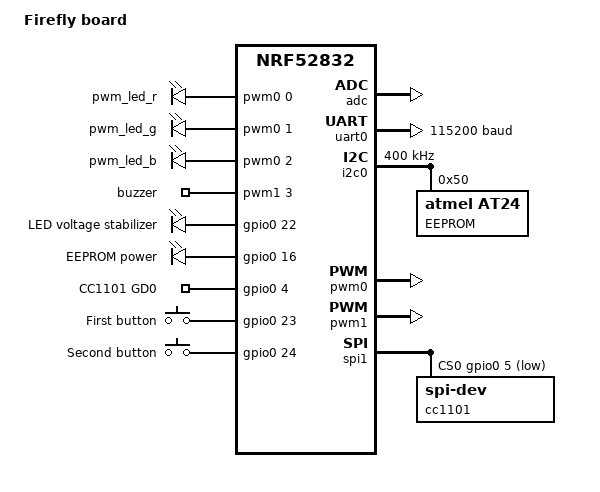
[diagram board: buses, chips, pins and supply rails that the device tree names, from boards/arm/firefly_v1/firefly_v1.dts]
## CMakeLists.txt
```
cmake_minimum_required(VERSION 3.13.1)
include($ENV{ZEPHYR_BASE}/cmake/app/boilerplate.cmake NO_POLICY_SCOPE)

project(firefly)

target_sources(app PRIVATE
  src/cc1101.cpp
  src/main.cpp
  src/rgb_led.cpp
  src/color.cpp
  src/timer.cpp
  src/battery.cpp
)
target_include_directories(app PRIVATE src)
```

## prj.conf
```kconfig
# Enable C++ and its standard library
CONFIG_CPLUSPLUS=y
CONFIG_NEWLIB_LIBC=y
CONFIG_LIB_CPLUSPLUS=y
CONFIG_STD_CPP17=y

# Disable some debug optimizations so debugging is easier
CONFIG_DEBUG=y
CONFIG_DEBUG_OPTIMIZATIONS=y

# Enable GPIO for buttons/leds
CONFIG_GPIO=y

# Enable logging via RTT
CONFIG_LOG=y
CONFIG_USE_SEGGER_RTT=y
CONFIG_RTT_CONSOLE=y

# Enable SPI to be able to communicate to the radio chip (cc1101).
CONFIG_SPI=y
# With the default pca10040 board devicetree, uart0 uses pins needed for SPI.
CONFIG_SERIAL=n
CONFIG_UART_CONSOLE=n

# Required to have smooth LED control
CONFIG_PWM=y
```

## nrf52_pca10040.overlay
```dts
/ {
	buttons {
		gdo0: gdo0 {
			gpios = <&gpio0 4 (GPIO_PULL_DOWN)>;
			label = "CC1101 GD0";
		};
	};

	aliases {
		cc1101-spi = &spi1;
		cc1101-gdo0 = &gdo0;
	};
};

&spi1 {
	status = "okay";
	sck-pin = <6>;
	mosi-pin = <8>;
	miso-pin = <7>;
	cs-gpios = <&gpio0 5 0>;
};
```

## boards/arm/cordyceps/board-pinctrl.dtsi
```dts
&pinctrl {
  uart0_default: uart0_default {
    group1 {
      psels = <NRF_PSEL(UART_TX, 0, 17)>,
              <NRF_PSEL(UART_RX, 0, 20)>;
    };
  };

  uart1_default: uart1_default {
    group1 {
      psels = <NRF_PSEL(UART_TX, 0, 11)>,
              <NRF_PSEL(UART_RX, 0, 9)>;
    };
  };
};
```

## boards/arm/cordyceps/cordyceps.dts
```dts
/dts-v1/;
#include <nordic/nrf52833_qiaa.dtsi>
#include "board-pinctrl.dtsi"

/ {
	model = "Cordyceps v1 board";
	compatible = "aeremin,cordyceps";

	chosen {
		zephyr,console = &uart0;
		zephyr,sram = &sram0;
		zephyr,flash = &flash0;
	};

	power_control {
		compatible = "gpio-keys";
		led1: led1 {
			gpios = <&gpio0 31 (GPIO_ACTIVE_LOW | GPIO_PULL_UP)>;
			label = "Indication LED";
		};

		power_en: power_en {
			gpios = <&gpio0 15 (GPIO_ACTIVE_HIGH | GPIO_PULL_DOWN)>;
			label = "Power pass-through";
		};
	};

	buttons {
		compatible = "gpio-keys";
		button_sw1: button_sw1 {
			gpios = <&gpio0 30 (GPIO_PULL_UP | GPIO_ACTIVE_LOW)>;
			label = "First button";
		};
	};
};

&uart0 {
	status = "okay";
	current-speed = <115200>;
	pinctrl-0 = <&uart0_default>;
	pinctrl-names = "default";
};

&uart1 {
	status = "okay";
	current-speed = <115200>;
	pinctrl-0 = <&uart1_default>;
	pinctrl-names = "default";
};

&gpio0 {
	status = "okay";
};

&gpiote {
    status = "okay";
};

&flash0 {
	partitions {
		compatible = "fixed-partitions";
		#address-cells = <1>;
		#size-cells = <1>;

		boot_partition: partition@0 {
			label = "mcuboot";
			reg = <0x00000000 0xC000>;
		};
		slot0_partition: partition@c000 {
			label = "image-0";
			reg = <0x0000C000 0x32000>;
		};
		slot1_partition: partition@3e000 {
			label = "image-1";
			reg = <0x0003E000 0x32000>;
		};
		scratch_partition: partition@70000 {
			label = "image-scratch";
			reg = <0x00070000 0xA000>;
		};
		storage_partition: partition@7a000 {
			label = "storage";
			reg = <0x0007A000 0x00006000>;
		};
	};
};
```

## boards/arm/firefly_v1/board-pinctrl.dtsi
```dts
&pinctrl {
    uart0_default: uart0_default {
      group1 {
        psels = <NRF_PSEL(UART_TX, 0, 2)>,
                <NRF_PSEL(UART_RX, 0, 3)>;
      };
    };

    spi1_default: spi1_default {
      group1 {
        psels = <NRF_PSEL(SPIM_SCK, 0, 6)>,
                <NRF_PSEL(SPIM_MISO, 0, 7)>,
                <NRF_PSEL(SPIM_MOSI, 0, 8)>;
      };
    };

    pwm0_default: pwm0_default {
      group1 {
        psels = <NRF_PSEL(PWM_OUT0, 0, 17)>,
                <NRF_PSEL(PWM_OUT1, 0, 20)>,
                <NRF_PSEL(PWM_OUT2, 0, 19)>;
        nordic,invert;
      };
    };

    pwm1_default: pwm1_default {
      group1 {
        psels = <NRF_PSEL(PWM_OUT3, 0, 30)>;
      };
    };
    
    i2c0_default: i2c0_default {
      group1 {
        psels = <NRF_PSEL(TWIM_SDA, 0, 14)>,
                <NRF_PSEL(TWIM_SCL, 0, 15)>;
      };
    };

    i2c1_default: i2c1_default {
      group1 {
        psels = <NRF_PSEL(TWIM_SDA, 0, 12)>,
                <NRF_PSEL(TWIM_SCL, 0, 13)>;
      };
    };    
  };
```

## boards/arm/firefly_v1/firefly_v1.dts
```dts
/dts-v1/;
#include <nordic/nrf52832_qfaa.dtsi>
#include "board-pinctrl.dtsi"

/ {
	// See hardware info, spec and blueprints here https://github.com/Kreyl/firefly_hw
	// Specifically, https://github.com/Kreyl/Firefly_hw/blob/master/PCB/Gerber/FireFly_SCH.pdf
	model = "Firefly board";

	chosen {
		zephyr,console = &uart0;
		zephyr,shell-uart = &uart0;
		zephyr,uart-mcumgr = &uart0;
		zephyr,bt-mon-uart = &uart0;
		zephyr,bt-c2h-uart = &uart0;
		zephyr,sram = &sram0;
		zephyr,flash = &flash0;
	};

	pwmleds {
		// Need power on 22 for being bright
		compatible = "pwm-leds";
		pwm_led_r: pwm_led_r {
			pwms = <&pwm0 0 PWM_MSEC(20) PWM_POLARITY_INVERTED>;
		};

		pwm_led_g: pwm_led_g {
			pwms = <&pwm0 1 PWM_MSEC(20) PWM_POLARITY_INVERTED>;
		};

		pwm_led_b: pwm_led_b {
			pwms = <&pwm0 2 PWM_MSEC(20) PWM_POLARITY_INVERTED>;
		};
	};

	pwmbuzzer {
		compatible = "pwm-leds";
		buzzer: buzzer {
			pwms = <&pwm1 3 PWM_MSEC(20) PWM_POLARITY_INVERTED>;
		};
	};

	leds {
		compatible = "gpio-leds";
		led_en: led_en {
			gpios = <&gpio0 22 GPIO_ACTIVE_HIGH>;
			label = "LED voltage stabilizer";
		};

		eeprom_en: eeprom_en {
			gpios = <&gpio0 16 GPIO_ACTIVE_HIGH>;
			label = "EEPROM power";
		};
	};

	buttons {
		compatible = "gpio-keys";
		gdo0: gdo0 {
			gpios = <&gpio0 4 (GPIO_PULL_DOWN)>;
			label = "CC1101 GD0";
		};

		button_1: button_1 {
			gpios = <&gpio0 23 (GPIO_PULL_DOWN)>;
			label = "First button";
		};

		button_2: button_2 {
			gpios = <&gpio0 24 (GPIO_PULL_DOWN)>;
			label = "Second button";
		};
	};

	aliases {
		cc1101-spi = &spi1;
		cc1101 = &cc1101;
		cc1101-gdo0 = &gdo0;

		led-r = &pwm_led_r;
		led-g = &pwm_led_g;
		led-b = &pwm_led_b;
		led-en = &led_en;

		buzzer = &buzzer;

		eeprom = &eeprom;
		eeprom-en = &eeprom_en;
	};
};

&adc {
	status = "okay";
};

&gpiote {
	status = "okay";
};

&gpio0 {
	status = "okay";
};

&uart0 {
	status = "okay";
	compatible = "nordic,nrf-uart";
	current-speed = <115200>;
	pinctrl-0 = <&uart0_default>;
	pinctrl-names = "default";
};

// EEPROM
// Needs power on 16
&i2c0 {
	compatible = "nordic,nrf-twi";
	status = "okay";
	pinctrl-0 = <&i2c0_default>;
	pinctrl-names = "default";
	clock-frequency = <I2C_BITRATE_FAST>;

	// Datasheet: https://www.terraelectronica.ru/pdf/show?pdf_file=%252Fds%252Fpdf%252FM%252Fm24256-bw.pdf
	eeprom: eeprom@50 {
		compatible = "atmel,at24";
		// 1010 (type identifier code) 000 (A0-A2 pins are connected to the ground)
		reg = <0x50>;
		label = "EEPROM";
		size = <DT_SIZE_K(32)>;
		pagesize = <64>;
		address-width = <8>;
		timeout = <5>;
	};
};

// Pill
&i2c1 {
	compatible = "nordic,nrf-twi";
	status = "disabled";
	pinctrl-0 = <&i2c1_default>;
	pinctrl-names = "default";
	// Needs power on 11
};

// LEDs
&pwm0 {
	status = "okay";
	pinctrl-0 = <&pwm0_default>;
	pinctrl-names = "default";	
};

// Buzzer
&pwm1 {
	status = "okay";
	pinctrl-0 = <&pwm1_default>;
	pinctrl-names = "default";	
};

// CC1101
&spi1 {
	compatible = "nordic,nrf-spi";
	status = "okay";
	pinctrl-0 = <&spi1_default>;
	pinctrl-names = "default";
	cs-gpios = <&gpio0 5 GPIO_ACTIVE_LOW>;
	cc1101: spi-dev@0 {
		reg = <0>;
	};
};

&flash0 {
	/*
	 * For more information, see:
	 * http://docs.zephyrproject.org/latest/guides/dts/index.html#flash-partitions
	 */
	partitions {
		compatible = "fixed-partitions";
		#address-cells = <1>;
		#size-cells = <1>;

		boot_partition: partition@0 {
			label = "mcuboot";
			reg = <0x00000000 0xc000>;
		};
		slot0_partition: partition@c000 {
			label = "image-0";
			reg = <0x0000C000 0x32000>;
		};
		slot1_partition: partition@3e000 {
			label = "image-1";
			reg = <0x0003E000 0x32000>;
		};
		scratch_partition: partition@70000 {
			label = "image-scratch";
			reg = <0x00070000 0xa000>;
		};
		storage_partition: partition@7a000 {
			label = "storage";
			reg = <0x0007a000 0x00006000>;
		};
	};
};
```

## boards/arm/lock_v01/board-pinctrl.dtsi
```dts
&pinctrl {
  uart0_default: uart0_default {
    group1 {
      psels = <NRF_PSEL(UART_TX, 0, 22)>,
              <NRF_PSEL(UART_RX, 0, 24)>;
    };
  };

  pwm0_default: pwm0_default {
    group1 {
      psels = <NRF_PSEL(PWM_OUT0, 1, 15)>,
              <NRF_PSEL(PWM_OUT1, 1, 13)>,
              <NRF_PSEL(PWM_OUT2, 0, 2)>;
      nordic,invert;
    };
  };

  pwm1_default: pwm1_default {
    group1 {
      psels = <NRF_PSEL(PWM_OUT3, 0, 20)>;
    };
  };

  i2c0_default: i2c0_default {
    group1 {
      psels = <NRF_PSEL(TWIM_SDA, 0, 12)>,
              <NRF_PSEL(TWIM_SCL, 1, 9)>;
    };
  };
};
```

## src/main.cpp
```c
#include <array>
#include <device.h>
#include <drivers/gpio.h>
#include <drivers/spi.h>
#include <logging/log.h>
#include <zephyr.h>
#include "battery.h"
#include "cc1101.h"
#include "rgb_led.h"

LOG_MODULE_REGISTER();

struct MagicPathRadioPacket {
  uint8_t id;
  uint8_t r, g, b;
  uint8_t r_background, g_background, b_background;
  bool configure_mode;
} __attribute__((__packed__));

struct ColorAndTimestamp {
  ColorAndTimestamp(): timestamp(0), color(0, 0, 0) {}
  int32_t timestamp;
  Color color;
};

class PacketsLog {
public:
  void ProcessRadioPacket(const MagicPathRadioPacket& p) {
    if (p.id >= colors_.size()) {
      LOG_WRN("Unexpected radio packet with ID = %d", p.id);
      return;
    }

    if (p.configure_mode) {
      background_color_ = Color(p.r_background, p.g_background, p.b_background);
    }

    colors_[p.id].timestamp = k_uptime_get();
    colors_[p.id].color = Color(p.r, p.g, p.b);
  }

  Color GetColor() const {
    const auto current_t = k_uptime_get();
    uint16_t r = 0, g = 0, b = 0;
    bool see_something = false;
    for (const auto& entry: colors_) {
      if (entry.timestamp != 0 && current_t - entry.timestamp < 3000) {
        r += entry.color.r;
        g += entry.color.g;
        b += entry.color.b;
        see_something = true;
      }
    }

    if (!see_something) {
      return background_color_;
    }

    return Color(std::min<uint16_t>(255, r), std::min<uint16_t>(255, g), std::min<uint16_t>(255, b));
  }

private:
  Color background_color_ = {0, 0, 0};
  std::array<ColorAndTimestamp, 20> colors_;
};

void main(void) {
  LOG_WRN("Hello! Application started successfully.");

  Cc1101 cc1101;
  cc1101.Init();
  cc1101.SetChannel(1);

  RgbLed led;
  PacketsLog log;
  Battery battery;

  auto t1 = RunEvery([&led, &log](){
    auto c = log.GetColor();
    LOG_DBG("New color is %d %d %d", c.r, c.g, c.b);
    led.SetColorSmooth(c, 1000);
  }, 1000);

  while (true) {
    MagicPathRadioPacket pkt;
    for (int ch = 0; ch < 4; ++ch) {
      cc1101.SetChannel(ch);
      if (cc1101.Receive(63, &pkt)) {
        LOG_DBG("Got packet! ID=%d, R=%d, G=%d, B=%d", pkt.id, pkt.r, pkt.g, pkt.b);
        log.ProcessRadioPacket(pkt);
      }
    }

    LOG_INF("Adc result: %d", battery.GetVoltage());
    k_sleep(810);
  }
}
```

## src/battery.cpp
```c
#include "battery.h"

#include <hal/nrf_saadc.h>

namespace {
const uint8_t kAdcResolution = 10;
const uint8_t kAdcOversampling = 4;
static s32_t sample_buffer[10];
}

Battery::Battery():
  adc_device_(device_get_binding(DT_ADC_0_NAME)),
  channel_config_(ChannelConfig()),
  adc_seq_({
    .options      = nullptr,
    .channels     = BIT(0),
    .buffer       = sample_buffer,
    .buffer_size  = sizeof(sample_buffer),
    .resolution   = kAdcResolution,
    .oversampling = kAdcOversampling,
    .calibrate    = true
	})
{
  adc_channel_setup(adc_device_, &channel_config_);
}

int32_t Battery::GetVoltage() {
	adc_read(adc_device_, &adc_seq_);
  adc_raw_to_millivolts(adc_ref_internal(adc_device_), ADC_GAIN_1_6, kAdcResolution, sample_buffer);

  // We don't need to calibrate anymore
  adc_seq_.calibrate = false;

  return sample_buffer[0];
}

adc_channel_cfg Battery::ChannelConfig() {
  adc_channel_cfg config;
  config.gain = ADC_GAIN_1_6;
  config.reference = ADC_REF_INTERNAL;
  config.acquisition_time = ADC_ACQ_TIME(ADC_ACQ_TIME_MICROSECONDS, 10);
  config.channel_id = 0;
  config.input_positive = NRF_SAADC_INPUT_VDD;
  return config;
}
```

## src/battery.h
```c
#pragma once
#include <device.h>
#include <drivers/adc.h>

// Helper for measuring battery voltage.
// nRF-specific (uses nRF-specific SAADC driver).
// There are 2 things which I still can't figure out
// 1) It produces weird result if Battery is not statically allocated. Probably it has
//    to do with underlying libraries somehow requiring buffer to be statically allocated.
//    So the only way to instantiate this is by using GetInstance() method which will
//    return statically allocated singleton.
// 2) For some reason first call to GetVoltage() will always (?) return 0 (more precisely:
//    something based on default value of buffer). So caller should probably ignore 0 results.
class Battery {
public:
  static Battery GetInstance();

  // Returns current estimated voltage in millivolts.
  // Don't trust it if it returns 0 - see above.
  int32_t GetVoltage();
private:
  Battery();

  device* adc_device_;
  const adc_channel_cfg channel_config_;
  adc_sequence adc_seq_;
  int16_t buffer_ = 0;
};
```

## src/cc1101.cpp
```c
#include "cc1101.h"

LOG_MODULE_DECLARE();

device* Cc1101::spi_ = device_get_binding(DT_ALIAS_CC1101_SPI_LABEL);

device* gpio_device = device_get_binding(DT_ALIAS_CC1101_GDO0_GPIOS_CONTROLLER);
gpio_pin_t gd_pin = DT_ALIAS_CC1101_GDO0_GPIOS_PIN;

k_sem Cc1101::gd_ready_;
gpio_callback Cc1101::gdo0_callback_data_;

spi_cs_control Cc1101::spi_cs_cfg_ = {
    .gpio_dev = device_get_binding(DT_ALIAS_SPI_1_CS_GPIOS_CONTROLLER),
    .gpio_pin = DT_ALIAS_SPI_1_CS_GPIOS_PIN,
    .delay = 0};

spi_config Cc1101::spi_config_ = {
    .frequency = 0x400000UL, // 4 MHz
    .operation = SPI_OP_MODE_MASTER | SPI_TRANSFER_MSB | SPI_WORD_SET(8) | SPI_LINES_SINGLE,
    .slave = 0,
    .cs = &Cc1101::spi_cs_cfg_};

void Cc1101::Init() {
  k_sem_init(&gd_ready_, 0, 1);

  Reset();

  // TODO(aeremin) This is a hack. Instead we should wait for
  // CC1101 to became ready by listening for MISO to become low.
  // This actually should be done every time we initiate a transfer (i.e. pull CS low),
  // but there is no direct support for that in nRF SPI library. From the datasheet it
  // seems that it's actually only required when leaving SLEEP or XOFF states
  // (see p. 29, "4-wire Serial Configuration and Data Interface").
  k_sleep(40);

  RfConfig();
  FlushRxFIFO();

  SetTxPower(CC_PwrMinus30dBm);
  SetChannel(0);

	auto ret = gpio_pin_configure(gpio_device, gd_pin, DT_ALIAS_CC1101_GDO0_GPIOS_FLAGS | GPIO_INPUT);
	if (ret != 0) LOG_ERR("Failed to configure button pin: %d", ret);

	ret = gpio_pin_interrupt_configure(gpio_device, gd_pin, GPIO_INT_EDGE_FALLING);
	if (ret != 0) LOG_ERR("Failed to configure interrupt on pin: %d", ret);

	gpio_init_callback(&gdo0_callback_data_, Gdo0Callback, BIT(gd_pin));
	gpio_add_callback(gpio_device, &gdo0_callback_data_);
}

void Cc1101::Gdo0Callback(struct device *dev, struct gpio_callback *cb, u32_t pins)
{
   k_sem_give(&Cc1101::gd_ready_);
}

void Cc1101::WriteStrobe(uint8_t instruction, uint8_t* status /* = nullptr*/) {
  spi_buf tx_buf = {
      .buf = &instruction,
      .len = 1};

  spi_buf_set tx_bufs = {
      .buffers = &tx_buf,
      .count = 1};

  spi_buf rx_buf = {
      .buf = status,
      .len = (status ? 1u : 0u)};

  spi_buf_set rx_bufs = {
      .buffers = &rx_buf,
      .count = 1};

  auto r = spi_transceive(spi_, &spi_config_, &tx_bufs, &rx_bufs);
  if (r != 0) {
    LOG_ERR("WriteStrobe fail: %d", r);
  }
}

void Cc1101::WriteConfigurationRegister(uint8_t reg, uint8_t value, uint8_t* statuses /* = nullptr*/) {
  uint8_t tx[] = {reg, value};
  spi_buf tx_buf = {
      .buf = tx,
      .len = 2};

  spi_buf_set tx_bufs = {
      .buffers = &tx_buf,
      .count = 1};

  spi_buf rx_buf = {
      .buf = statuses,
      .len = (statuses ? 2u : 0u)};

  spi_buf_set rx_bufs = {
      .buffers = &rx_buf,
      .count = 1};

  auto r = spi_transceive(spi_, &spi_config_, &tx_bufs, &rx_bufs);
  if (r != 0) {
    LOG_ERR("WriteConfigurationRegister fail: %d", r);
  }
}

uint8_t Cc1101::ReadRegister(uint8_t reg, uint8_t* status /* = nullptr*/) {
  uint8_t tx = reg | CC_READ_FLAG;
  uint8_t rx[] = {0, 0};

  spi_buf tx_buf = {
      .buf = &tx,
      .len = 1};

  spi_buf_set tx_bufs = {
      .buffers = &tx_buf,
      .count = 1};

  spi_buf rx_buf = {
      .buf = rx,
      .len = 2};

  spi_buf_set rx_bufs = {
      .buffers = &rx_buf,
      .count = 1};

  auto r = spi_transceive(spi_, &spi_config_, &tx_bufs, &rx_bufs);
  if (r != 0) {
    LOG_ERR("ReadRegister fail: %d", r);
  }

  if (status) *status = rx[0];
  return rx[1];
}

void Cc1101::Recalibrate() {
  EnterIdle();
  WriteStrobe(CC_SCAL);
}

void Cc1101::RfConfig() {
  WriteConfigurationRegister(CC_FSCTRL1, CC_FSCTRL1_VALUE);   // Frequency synthesizer control.
  WriteConfigurationRegister(CC_FSCTRL0, CC_FSCTRL0_VALUE);   // Frequency synthesizer control.
  WriteConfigurationRegister(CC_FREQ2, CC_FREQ2_VALUE);       // Frequency control word, high byte.
  WriteConfigurationRegister(CC_FREQ1, CC_FREQ1_VALUE);       // Frequency control word, middle byte.
  WriteConfigurationRegister(CC_FREQ0, CC_FREQ0_VALUE);       // Frequency control word, low byte.
  WriteConfigurationRegister(CC_MDMCFG4, CC_MDMCFG4_VALUE);   // Modem configuration.
  WriteConfigurationRegister(CC_MDMCFG3, CC_MDMCFG3_VALUE);   // Modem configuration.
  WriteConfigurationRegister(CC_MDMCFG2, CC_MDMCFG2_VALUE);   // Modem configuration.
  WriteConfigurationRegister(CC_MDMCFG1, CC_MDMCFG1_VALUE);   // Modem configuration.
  WriteConfigurationRegister(CC_MDMCFG0, CC_MDMCFG0_VALUE);   // Modem configuration.
  WriteConfigurationRegister(CC_CHANNR, CC_CHANNR_VALUE);     // Channel number.
  WriteConfigurationRegister(CC_DEVIATN, CC_DEVIATN_VALUE);   // Modem deviation setting (when FSK modulation is enabled).
  WriteConfigurationRegister(CC_FREND1, CC_FREND1_VALUE);     // Front end RX configuration.
  WriteConfigurationRegister(CC_FREND0, CC_FREND0_VALUE);     // Front end RX configuration.
  WriteConfigurationRegister(CC_MCSM0, CC_MCSM0_VALUE);       // Main Radio Control State Machine configuration.
  WriteConfigurationRegister(CC_FOCCFG, CC_FOCCFG_VALUE);     // Frequency Offset Compensation Configuration.
  WriteConfigurationRegister(CC_BSCFG, CC_BSCFG_VALUE);       // Bit synchronization Configuration.
  WriteConfigurationRegister(CC_AGCCTRL2, CC_AGCCTRL2_VALUE); // AGC control.
  WriteConfigurationRegister(CC_AGCCTRL1, CC_AGCCTRL1_VALUE); // AGC control.
  WriteConfigurationRegister(CC_AGCCTRL0, CC_AGCCTRL0_VALUE); // AGC control.
  WriteConfigurationRegister(CC_FSCAL3, CC_FSCAL3_VALUE);     // Frequency synthesizer calibration.
  WriteConfigurationRegister(CC_FSCAL2, CC_FSCAL2_VALUE);     // Frequency synthesizer calibration.
  WriteConfigurationRegister(CC_FSCAL1, CC_FSCAL1_VALUE);     // Frequency synthesizer calibration.
  WriteConfigurationRegister(CC_FSCAL0, CC_FSCAL0_VALUE);     // Frequency synthesizer calibration.
  WriteConfigurationRegister(CC_TEST2, CC_TEST2_VALUE);       // Various test settings.
  WriteConfigurationRegister(CC_TEST1, CC_TEST1_VALUE);       // Various test settings.
  WriteConfigurationRegister(CC_TEST0, CC_TEST0_VALUE);       // Various test settings.
  WriteConfigurationRegister(CC_FIFOTHR, CC_FIFOTHR_VALUE);   // fifo threshold
  WriteConfigurationRegister(CC_IOCFG2, CC_IOCFG2_VALUE);     // GDO2 output pin configuration.
  WriteConfigurationRegister(CC_IOCFG0, CC_IOCFG0_VALUE);     // GDO0 output pin configuration.
  WriteConfigurationRegister(CC_PKTCTRL1, CC_PKTCTRL1_VALUE); // Packet automation control.
  WriteConfigurationRegister(CC_PKTCTRL0, CC_PKTCTRL0_VALUE); // Packet automation control.

  WriteConfigurationRegister(CC_PATABLE, CC_Pwr0dBm);

  WriteConfigurationRegister(CC_MCSM2, CC_MCSM2_VALUE);
  WriteConfigurationRegister(CC_MCSM1, CC_MCSM1_VALUE);
}
```

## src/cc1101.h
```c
#pragma once

#include <device.h>
#include <drivers/gpio.h>
#include <drivers/spi.h>
#include <logging/log.h>
#include <zephyr.h>
#include "cc1101_constants.h"
#include "cc1101_rf_settings.h"

// Uses SPI_1 instance. So devicetree should contain something like
// &spi1 {
//   status = "okay";
//   sck-pin = <6>;
//   mosi-pin = <8>;
//   miso-pin = <7>;
//   cs-gpios = <&gpio0 5 0>;
// };

// Datasheet: http://www.ti.com/lit/ds/symlink/cc1101.pdf

class Cc1101 {
 private:
  static device* spi_;
  static spi_cs_control spi_cs_cfg_;
  static spi_config spi_config_;
  static k_sem gd_ready_;
  static gpio_callback gdo0_callback_data_;

 public:
  void Init();
  void SetChannel(uint8_t channel) { WriteConfigurationRegister(CC_CHANNR, channel); }

  template <typename RadioPacketT>
  void Transmit(RadioPacketT& packet) {
    SetPktSize(sizeof(RadioPacketT));
    Recalibrate();
    EnterTX();
    WriteTX(packet);
    k_sem_take(&gd_ready_, K_FOREVER);
  }

  template<typename RadioPacketT>
  bool Receive(uint32_t timeout_ms, RadioPacketT* result) {
    LOG_MODULE_DECLARE();

    SetPktSize(sizeof(RadioPacketT));
    Recalibrate();
    FlushRxFIFO();
    EnterRX();
    if (k_sem_take(&gd_ready_, timeout_ms) == 0) {
      return ReadFifo(result);
    } else {
      EnterIdle();
      return false;
    }
  }

 private:
  // Sends a single-byte instruction to the CC1101.
  // See documentation of instructions in datasheet, p.32,
  // 10.4 Command Strobes
  // If status is provided, status byte will be written into it.
  void WriteStrobe(uint8_t instruction, uint8_t* status = nullptr);

  // Sets a configuration register to a provided value.
  // See detailed description of available registers in datasheet, p.66
  // 29 Configuration Registers and Table 45: SPI Address Space.
  // If statuses is provided (must be a 2-byte array), status bytes will be written into it.
  void WriteConfigurationRegister(uint8_t reg, uint8_t value, uint8_t* statuses = nullptr);

  // Reads a configuration or status register.
  // If status is provided, status byte will be written into it.
  uint8_t ReadRegister(uint8_t reg, uint8_t* status = nullptr);

  template <typename RadioPacketT>
  void WriteTX(RadioPacketT& packet) {
    uint8_t tx_flags = CC_FIFO | CC_WRITE_FLAG | CC_BURST_FLAG;

    spi_buf tx_bufs[2];

    tx_bufs[0].buf = &tx_flags;
    tx_bufs[0].len = 1;

    tx_bufs[1].buf = static_cast<void*>(&packet);
    tx_bufs[1].len = sizeof(RadioPacketT);

    spi_buf_set tx_bufs_set = {
        .buffers = tx_bufs,
        .count = 2};

    auto r = spi_write(spi_, &spi_config_, &tx_bufs_set);
    if (r != 0) {
      LOG_MODULE_DECLARE();
      LOG_ERR("WriteTX fail: %d", r);
    }
  }

  template<typename RadioPacketT>
  bool ReadFifo(RadioPacketT* result) {
    LOG_MODULE_DECLARE();
    uint8_t status = 0;
    uint8_t b = ReadRegister(CC_PKTSTATUS, &status);
    if (!(b & 0x80)) {
      LOG_WRN("Weird, no data, packet status = %d, read register status =%d", b, status);
      return false;
    } else {
      LOG_DBG("CRC OK, packet status = %d, read register status =%d", b, status);
    }
    uint8_t tx = CC_FIFO | CC_READ_FLAG | CC_BURST_FLAG;
    uint8_t rx[sizeof(RadioPacketT) + 3];

    spi_buf tx_buf = {
        .buf = &tx,
        .len = 1};

    spi_buf_set tx_bufs = {
        .buffers = &tx_buf,
        .count = 1};

    spi_buf rx_buf = {
        .buf = rx,
        .len = sizeof(RadioPacketT) + 3};

    spi_buf_set rx_bufs = {
        .buffers = &rx_buf,
        .count = 1};

    auto r = spi_transceive(spi_, &spi_config_, &tx_bufs, &rx_bufs);
    if (r != 0) {
      LOG_MODULE_DECLARE();
      LOG_ERR("ReadFifo fail: %d", r);
    }

    memcpy(result, rx + 1, sizeof(RadioPacketT));
    return true;
  }

  static void Gdo0Callback(struct device *dev, struct gpio_callback *cb, u32_t pins);

  void RfConfig();

  void Reset() { WriteStrobe(CC_SRES); }
  void EnterTX() { WriteStrobe(CC_STX); }
  void EnterRX() { WriteStrobe(CC_SRX); }
  void EnterIdle() { WriteStrobe(CC_SIDLE); }
  void FlushRxFIFO() { WriteStrobe(CC_SFRX); }
  void SetTxPower(uint8_t APwr) { WriteConfigurationRegister(CC_PATABLE, APwr); }
  void SetPktSize(uint8_t ASize) { WriteConfigurationRegister(CC_PKTLEN, ASize); }
  void Recalibrate();
};
```

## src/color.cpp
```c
#include "color.h"

#include <algorithm>
#include <cstdlib>

namespace {
inline void moveByOne(uint8_t& move_what, uint8_t move_where) {
  if (move_what < move_where) move_what++;
  else if (move_what > move_where) move_what--;
}

inline void moveByStep(uint8_t& move_what, uint8_t move_where, uint8_t step) {
  if (move_what < move_where) {
    if (move_what <= 255 - step) {
      move_what += step;
    } else {
      move_what = 255;
    }
  } else if (move_what > move_where) {
    if (move_what >= step) {
      move_what -= step;
    } else {
      move_what = 0;
    }
  }
}

inline uint32_t CalculateDelay(int16_t difference, uint32_t total_time) {
    return total_time / (abs(difference) + 4) + 1;
}
}

void Color::Adjust(const Color& other) {
  moveByOne(r, other.r);
  moveByOne(g, other.g);
  moveByOne(b, other.b);
}

void Color::Adjust(const Color& other, uint8_t step) {
  moveByStep(r, other.r, step);
  moveByStep(g, other.g, step);
  moveByStep(b, other.b, step);
}

// Adjustment
uint32_t Color::DelayToTheNextAdjustment(const Color& other, uint32_t total_adjustment_time) const {
  return std::min({
    CalculateDelay(r - other.r, total_adjustment_time),
    CalculateDelay(g - other.g, total_adjustment_time),
    CalculateDelay(b - other.b, total_adjustment_time)
  });
}
```

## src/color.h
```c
#pragma once

#include <cstdint>

struct Color {
  uint8_t r = 0, g = 0, b = 0;
  Color(uint8_t r_, uint8_t g_, uint8_t b_) : r(r_), g(g_), b(b_) {}

  // Change to the direction of other. Each component changes not more than by 1.
  inline void Adjust(const Color& other);

  // Change to the direction of other. Each component changes not more than by step.
  inline void Adjust(const Color& other, uint8_t step);

  // We would like to go from this color to the other, each time adjusting this by Adjust.
  // We have total_adjustment_time time in total, what's the interval between adjustments?
  inline uint32_t DelayToTheNextAdjustment(const Color& other, uint32_t total_adjustment_time) const;
} __attribute__((packed));
```

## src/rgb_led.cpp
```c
#include "rgb_led.h"

#include <device.h>

namespace {
const uint8_t kFrequencyHertz = 100;
const uint32_t kUsecPerSecond = 1000 * 1000;
const uint32_t kCyclePeriodUs = kUsecPerSecond / kFrequencyHertz;

uint32_t colorComponentToPulseWidth(uint8_t component) {
  return (kCyclePeriodUs / 255u) * component;
}

}

RgbLed::RgbLed(): timer_callback_([this](){ this->OnTimer(); }) {
}

void RgbLed::SetColor(const Color& color) {
  color_ = color;
  target_color_ = color;
  timer_period_ = 0;
  timer_.Cancel();
  ActuateColor();
}

void RgbLed::ActuateColor() {
  pwm_pin_set_usec(device_, DT_ALIAS_LED_R_PWMS_CHANNEL,
    kCyclePeriodUs, colorComponentToPulseWidth(color_.r), /*flags=*/0u);
  pwm_pin_set_usec(device_, DT_ALIAS_LED_G_PWMS_CHANNEL,
    kCyclePeriodUs, colorComponentToPulseWidth(color_.g), /*flags=*/0u);
  pwm_pin_set_usec(device_, DT_ALIAS_LED_B_PWMS_CHANNEL,
    kCyclePeriodUs, colorComponentToPulseWidth(color_.b), /*flags=*/0u);
}

void RgbLed::SetColorSmooth(const Color& color, uint32_t delay_ms) {
  target_color_ = color;
  timer_period_ = color_.DelayToTheNextAdjustment(target_color_, delay_ms);
  timer_.RunDelayed(timer_callback_, timer_period_);
}

void RgbLed::OnTimer() {
  color_.Adjust(target_color_);
  ActuateColor();
  if (color_ != target_color_) timer_.RunDelayed(timer_callback_, timer_period_);
}
```

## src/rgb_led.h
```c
#pragma once

#include <cstdint>
#include <functional>
#include <string_view>
#include <drivers/pwm.h>

#include "color.h"
#include "timer.h"

class RgbLed {
public:
  RgbLed();

  void SetColor(const Color& color);
  void SetColorSmooth(const Color& color, uint32_t delay_ms);
private:
  // Changes color of the physical LED to the color_.
  void ActuateColor();
  void OnTimer();

  Color color_ = {0, 0, 0};
  Color target_color_ = {0, 0, 0};
  uint32_t timer_period_ = 0;
  device* device_ = device_get_binding(DT_PWM_LEDS_PWM_LED_R_PWMS_CONTROLLER);
  Timer timer_;
};

// All tree LEDs (R, G, B) must be configured in the devictree to use same PMW controller.
static_assert(std::string_view(DT_PWM_LEDS_PWM_LED_R_PWMS_CONTROLLER) == std::string_view(DT_PWM_LEDS_PWM_LED_G_PWMS_CONTROLLER));
static_assert(std::string_view(DT_PWM_LEDS_PWM_LED_R_PWMS_CONTROLLER) == std::string_view(DT_PWM_LEDS_PWM_LED_B_PWMS_CONTROLLER));
```

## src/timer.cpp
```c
#include "timer.h"

namespace {
void GenericCallback(k_timer *timer) {
  auto* f = static_cast<std::function<void()>*>(k_timer_user_data_get(timer));
  (*f)();
}
}

Timer::Timer(std::function<void()> action): action_(std::move(action)) {
  k_timer_init(&timer_, GenericCallback, nullptr);
  k_timer_user_data_set(&timer_, const_cast<void*>(static_cast<const void*>(&action_)));
}

Timer::Timer(Timer&& other) {
  std::swap(timer_, other.timer_);
  std::swap(action_, other.action_);
}

Timer::~Timer() {
  Cancel();
}

Timer& Timer::RunDelayed(uint32_t delay_ms) {
  Cancel();
  k_timer_start(&timer_, delay_ms, 0);
  return *this;
}


Timer& Timer::RunEvery(uint32_t period_ms) {
  Cancel();
  k_timer_start(&timer_, period_ms, period_ms);
  return *this;
}

void Timer::Cancel() {
  k_timer_stop(&timer_);
}

Timer RunDelayed(std::function<void()> action, uint32_t delay_ms) {
  Timer t(std::move(action));
  t.RunDelayed(delay_ms);
  return t;
}

Timer RunEvery(std::function<void()> action, uint32_t period_ms) {
  Timer t(std::move(action));
  t.RunEvery(period_ms);
  return t;
}
```

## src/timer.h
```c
#pragma once
#include <functional>
#include <kernel.h>

class Timer {
 public:
  Timer();
  ~Timer();

  // Caller is responsible for keeping action alive until it's triggered.
  // Or it can Cancel() Timer (or destruct it).
  Timer& RunDelayed(const std::function<void()>& action, uint32_t delay_ms);

  void Cancel();
 private:
  k_timer timer_;
};
```
